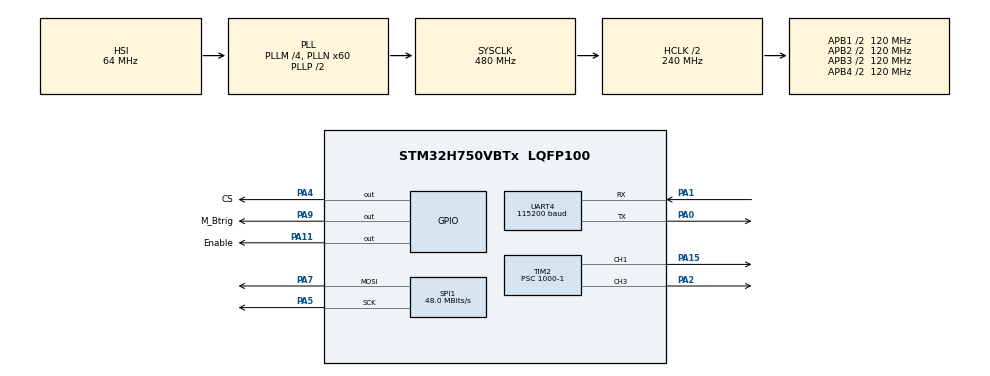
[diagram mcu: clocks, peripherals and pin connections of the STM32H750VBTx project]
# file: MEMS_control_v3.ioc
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Mcu.Family=STM32H7
Mcu.Name=STM32H750VBTx
Mcu.Package=LQFP100
NVIC.PriorityGroup=NVIC_PRIORITYGROUP_4
NVIC.TIM6_DAC_IRQn=true\:0\:0\:false\:false\:true\:true\:true\:true
NVIC.UART4_IRQn=true\:0\:0\:false\:false\:true\:true\:true\:true
PA0.Mode=Asynchronous
PA0.Signal=UART4_TX
PA1.Mode=Asynchronous
PA1.Signal=UART4_RX
PA11.GPIO_Label=Enable
PA11.Signal=GPIO_Output
PA15\ (JTDI).Signal=S_TIM2_CH1_ETR
PA2.Signal=S_TIM2_CH3
PA4.GPIO_Label=CS
PA4.GPIO_Speed=GPIO_SPEED_FREQ_HIGH
PA4.PinState=GPIO_PIN_SET
PA4.Signal=GPIO_Output
PA5.GPIO_Speed=GPIO_SPEED_FREQ_HIGH
PA5.Mode=TX_Only_Simplex_Unidirect_Master
PA5.Signal=SPI1_SCK
PA7.GPIO_Speed=GPIO_SPEED_FREQ_HIGH
PA7.Mode=TX_Only_Simplex_Unidirect_Master
PA7.Signal=SPI1_MOSI
PA9.GPIO_Label=M_Btrig
PA9.GPIO_Speed=GPIO_SPEED_FREQ_HIGH
PA9.Signal=GPIO_Output
PC14-OSC32_IN\ (OSC32_IN).Mode=LSE-External-Oscillator
PC14-OSC32_IN\ (OSC32_IN).Signal=RCC_OSC32_IN
PC15-OSC32_OUT\ (OSC32_OUT).Mode=LSE-External-Oscillator
PC15-OSC32_OUT\ (OSC32_OUT).Signal=RCC_OSC32_OUT
PH0-OSC_IN\ (PH0).Mode=HSE-External-Oscillator
PH0-OSC_IN\ (PH0).Signal=RCC_OSC_IN
PH1-OSC_OUT\ (PH1).Mode=HSE-External-Oscillator
PH1-OSC_OUT\ (PH1).Signal=RCC_OSC_OUT
ProjectManager.HeapSize=0x200
ProjectManager.StackSize=0x400
ProjectManager.TargetToolchain=STM32CubeIDE
RCC.ADCFreq_Value=129000000
RCC.APB1Freq_Value=120000000
RCC.APB2Freq_Value=120000000
RCC.APB3Freq_Value=120000000
RCC.APB4Freq_Value=120000000
RCC.CortexFreq_Value=480000000
RCC.D1PPRE=RCC_APB3_DIV2
RCC.D2PPRE1=RCC_APB1_DIV2
RCC.D2PPRE2=RCC_APB2_DIV2
RCC.D3PPRE=RCC_APB4_DIV2
RCC.DIVM1=4
RCC.DIVN1=60
RCC.DIVQ1=5
RCC.HCLKFreq_Value=240000000
RCC.HPRE=RCC_HCLK_DIV2
RCC.PLL2FRACN=0
RCC.PLL3FRACN=0
RCC.PLLFRACN=0
RCC.SYSCLKFreq_VALUE=480000000
RCC.SYSCLKSource=RCC_SYSCLKSOURCE_PLLCLK
RCC.USBFreq_Value=192000000
SH.S_TIM2_CH1_ETR.0=TIM2_CH1,PWM Generation1 CH1
SH.S_TIM2_CH3.0=TIM2_CH3,PWM Generation3 CH3
SPI1.BaudRatePrescaler=SPI_BAUDRATEPRESCALER_4
SPI1.CalculateBaudRate=48.0 MBits/s
SPI1.DataSize=SPI_DATASIZE_24BIT
SPI1.Direction=SPI_DIRECTION_2LINES_TXONLY
SPI1.Mode=SPI_MODE_MASTER
SPI1.VirtualType=VM_MASTER
TIM2.Channel-PWM\ Generation1\ CH1=TIM_CHANNEL_1
TIM2.Channel-PWM\ Generation3\ CH3=TIM_CHANNEL_3
TIM2.Period=13-1
TIM2.Prescaler=1000-1
TIM2.Pulse-PWM\ Generation1\ CH1=6
TIM2.Pulse-PWM\ Generation3\ CH3=6
TIM6.Period=10-1
TIM6.Prescaler=240-1
UART4.BaudRate=115200
VP_MEMORYMAP_VS_MEMORYMAP.Mode=CurAppReg
VP_TIM2_VS_ClockSourceINT.Mode=Internal
VP_TIM6_VS_ClockSourceINT.Mode=Enable_Timer
board=custom

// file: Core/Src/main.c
/* USER CODE BEGIN Header */
/**
  ******************************************************************************
  * @file           : main.c
  * @brief          : Main program body
  ******************************************************************************
  * @attention
  *
  * Copyright (c) 2026 STMicroelectronics.
  * All rights reserved.
  *
  * This software is licensed under terms that can be found in the LICENSE file
  * in the root directory of this software component.
  * If no LICENSE file comes with this software, it is provided AS-IS.
  *
  ******************************************************************************
  */
/* USER CODE END Header */
#include "main.h"

/* USER CODE BEGIN Includes */
#include "spi24_tx.h"
#include "frame_player.h"
#include "uart_cmd.h"
#include "mirrorcle_drv.h"
/* USER CODE END Includes */

SPI_HandleTypeDef hspi1;

TIM_HandleTypeDef htim2;
TIM_HandleTypeDef htim6;

UART_HandleTypeDef huart4;

/* USER CODE BEGIN PV */

volatile uint8_t spi_trigger = 0;
static uint8_t g_uart1_rx_byte;

/* USER CODE END PV */

void SystemClock_Config(void);
static void MX_GPIO_Init(void);
static void MX_SPI1_Init(void);
static void MX_TIM6_Init(void);
static void MX_UART4_Init(void);
static void MX_TIM2_Init(void);

int main(void)
{

  /* MCU Configuration--------------------------------------------------------*/

  /* Reset of all peripherals, Initializes the Flash interface and the Systick. */
  HAL_Init();

  /* Configure the system clock */
  SystemClock_Config();

  /* Initialize all configured peripherals */
  MX_GPIO_Init();
  MX_SPI1_Init();
  MX_TIM6_Init();
  MX_UART4_Init();
  MX_TIM2_Init();
  /* USER CODE BEGIN 2 */

  SPI24_Init(&hspi1);
  FramePlayer_Init(&htim6);
  UARTCMD_Init(&huart4);
  HAL_UART_Receive_IT(&huart4, &g_uart1_rx_byte, 1);
  HAL_TIM_PWM_Start(&htim2, TIM_CHANNEL_1);
  HAL_TIM_PWM_Start(&htim2, TIM_CHANNEL_3);

  TIM1->CR1 |= TIM_CR1_OPM;
  TIM1->BDTR |= TIM_BDTR_MOE;
  HAL_TIM_PWM_Start(&htim1, TIM_CHANNEL_4);

  // 출력은 일단 끔
  Mirrorcle_DisableOutput();

  HAL_Delay(1);

  // DAC 초기화
  Mirrorcle_FullInit(29491);

  HAL_Delay(1);

  /* USER CODE END 2 */

  /* Infinite loop */
  while (1)
  {

  }
}

void SystemClock_Config(void)
{
  RCC_OscInitTypeDef RCC_OscInitStruct = {0};
  RCC_ClkInitTypeDef RCC_ClkInitStruct = {0};

  /** Supply configuration update enable
  */
  HAL_PWREx_ConfigSupply(PWR_LDO_SUPPLY);

  /** Configure the main internal regulator output voltage
  */
  __HAL_PWR_VOLTAGESCALING_CONFIG(PWR_REGULATOR_VOLTAGE_SCALE0);

  while(!__HAL_PWR_GET_FLAG(PWR_FLAG_VOSRDY)) {}

  /** Initializes the RCC Oscillators according to the specified parameters
  * in the RCC_OscInitTypeDef structure.
  */
  RCC_OscInitStruct.OscillatorType = RCC_OSCILLATORTYPE_HSI;
  RCC_OscInitStruct.HSIState = RCC_HSI_DIV1;
  RCC_OscInitStruct.HSICalibrationValue = RCC_HSICALIBRATION_DEFAULT;
  RCC_OscInitStruct.PLL.PLLState = RCC_PLL_ON;
  RCC_OscInitStruct.PLL.PLLSource = RCC_PLLSOURCE_HSI;
  RCC_OscInitStruct.PLL.PLLM = 4;
  RCC_OscInitStruct.PLL.PLLN = 60;
  RCC_OscInitStruct.PLL.PLLP = 2;
  RCC_OscInitStruct.PLL.PLLQ = 5;
  RCC_OscInitStruct.PLL.PLLR = 2;
  RCC_OscInitStruct.PLL.PLLRGE = RCC_PLL1VCIRANGE_3;
  RCC_OscInitStruct.PLL.PLLVCOSEL = RCC_PLL1VCOWIDE;
  RCC_OscInitStruct.PLL.PLLFRACN = 0;
  if (HAL_RCC_OscConfig(&RCC_OscInitStruct) != HAL_OK)
  {
    Error_Handler();
  }

  /** Initializes the CPU, AHB and APB buses clocks
  */
  RCC_ClkInitStruct.ClockType = RCC_CLOCKTYPE_HCLK|RCC_CLOCKTYPE_SYSCLK
                              |RCC_CLOCKTYPE_PCLK1|RCC_CLOCKTYPE_PCLK2
                              |RCC_CLOCKTYPE_D3PCLK1|RCC_CLOCKTYPE_D1PCLK1;
  RCC_ClkInitStruct.SYSCLKSource = RCC_SYSCLKSOURCE_PLLCLK;
  RCC_ClkInitStruct.SYSCLKDivider = RCC_SYSCLK_DIV1;
  RCC_ClkInitStruct.AHBCLKDivider = RCC_HCLK_DIV2;
  RCC_ClkInitStruct.APB3CLKDivider = RCC_APB3_DIV2;
  RCC_ClkInitStruct.APB1CLKDivider = RCC_APB1_DIV2;
  RCC_ClkInitStruct.APB2CLKDivider = RCC_APB2_DIV2;
  RCC_ClkInitStruct.APB4CLKDivider = RCC_APB4_DIV2;

  if (HAL_RCC_ClockConfig(&RCC_ClkInitStruct, FLASH_LATENCY_4) != HAL_OK)
  {
    Error_Handler();
  }
}

static void MX_SPI1_Init(void)
{

  /* SPI1 parameter configuration*/
  hspi1.Instance = SPI1;
  hspi1.Init.Mode = SPI_MODE_MASTER;
  hspi1.Init.Direction = SPI_DIRECTION_2LINES_TXONLY;
  hspi1.Init.DataSize = SPI_DATASIZE_24BIT;
  hspi1.Init.CLKPolarity = SPI_POLARITY_LOW;
  hspi1.Init.CLKPhase = SPI_PHASE_1EDGE;
  hspi1.Init.NSS = SPI_NSS_SOFT;
  hspi1.Init.BaudRatePrescaler = SPI_BAUDRATEPRESCALER_4;
  hspi1.Init.FirstBit = SPI_FIRSTBIT_MSB;
  hspi1.Init.TIMode = SPI_TIMODE_DISABLE;
  hspi1.Init.CRCCalculation = SPI_CRCCALCULATION_DISABLE;
  hspi1.Init.CRCPolynomial = 0x0;
  hspi1.Init.NSSPMode = SPI_NSS_PULSE_ENABLE;
  hspi1.Init.NSSPolarity = SPI_NSS_POLARITY_LOW;
  hspi1.Init.FifoThreshold = SPI_FIFO_THRESHOLD_01DATA;
  hspi1.Init.TxCRCInitializationPattern = SPI_CRC_INITIALIZATION_ALL_ZERO_PATTERN;
  hspi1.Init.RxCRCInitializationPattern = SPI_CRC_INITIALIZATION_ALL_ZERO_PATTERN;
  hspi1.Init.MasterSSIdleness = SPI_MASTER_SS_IDLENESS_00CYCLE;
  hspi1.Init.MasterInterDataIdleness = SPI_MASTER_INTERDATA_IDLENESS_00CYCLE;
  hspi1.Init.MasterReceiverAutoSusp = SPI_MASTER_RX_AUTOSUSP_DISABLE;
  hspi1.Init.MasterKeepIOState = SPI_MASTER_KEEP_IO_STATE_DISABLE;
  hspi1.Init.IOSwap = SPI_IO_SWAP_DISABLE;
  if (HAL_SPI_Init(&hspi1) != HAL_OK)
  {
    Error_Handler();
  }

}

static void MX_TIM2_Init(void)
{

  TIM_ClockConfigTypeDef sClockSourceConfig = {0};
  TIM_MasterConfigTypeDef sMasterConfig = {0};
  TIM_OC_InitTypeDef sConfigOC = {0};

  htim2.Instance = TIM2;
  htim2.Init.Prescaler = 1000-1;
  htim2.Init.CounterMode = TIM_COUNTERMODE_UP;
  htim2.Init.Period = 13-1;
  htim2.Init.ClockDivision = TIM_CLOCKDIVISION_DIV1;
  htim2.Init.AutoReloadPreload = TIM_AUTORELOAD_PRELOAD_DISABLE;
  if (HAL_TIM_Base_Init(&htim2) != HAL_OK)
  {
    Error_Handler();
  }
  sClockSourceConfig.ClockSource = TIM_CLOCKSOURCE_INTERNAL;
  if (HAL_TIM_ConfigClockSource(&htim2, &sClockSourceConfig) != HAL_OK)
  {
    Error_Handler();
  }
  if (HAL_TIM_PWM_Init(&htim2) != HAL_OK)
  {
    Error_Handler();
  }
  sMasterConfig.MasterOutputTrigger = TIM_TRGO_RESET;
  sMasterConfig.MasterSlaveMode = TIM_MASTERSLAVEMODE_DISABLE;
  if (HAL_TIMEx_MasterConfigSynchronization(&htim2, &sMasterConfig) != HAL_OK)
  {
    Error_Handler();
  }
  sConfigOC.OCMode = TIM_OCMODE_PWM1;
  sConfigOC.Pulse = 6;
  sConfigOC.OCPolarity = TIM_OCPOLARITY_HIGH;
  sConfigOC.OCFastMode = TIM_OCFAST_DISABLE;
  if (HAL_TIM_PWM_ConfigChannel(&htim2, &sConfigOC, TIM_CHANNEL_1) != HAL_OK)
  {
    Error_Handler();
  }
  if (HAL_TIM_PWM_ConfigChannel(&htim2, &sConfigOC, TIM_CHANNEL_3) != HAL_OK)
  {
    Error_Handler();
  }
  HAL_TIM_MspPostInit(&htim2);

}

static void MX_TIM6_Init(void)
{

  TIM_MasterConfigTypeDef sMasterConfig = {0};

  htim6.Instance = TIM6;
  htim6.Init.Prescaler = 240-1;
  htim6.Init.CounterMode = TIM_COUNTERMODE_UP;
  htim6.Init.Period = 10-1;
  htim6.Init.AutoReloadPreload = TIM_AUTORELOAD_PRELOAD_DISABLE;
  if (HAL_TIM_Base_Init(&htim6) != HAL_OK)
  {
    Error_Handler();
  }
  sMasterConfig.MasterOutputTrigger = TIM_TRGO_RESET;
  sMasterConfig.MasterSlaveMode = TIM_MASTERSLAVEMODE_DISABLE;
  if (HAL_TIMEx_MasterConfigSynchronization(&htim6, &sMasterConfig) != HAL_OK)
  {
    Error_Handler();
  }

}

static void MX_UART4_Init(void)
{

  huart4.Instance = UART4;
  huart4.Init.BaudRate = 115200;
  huart4.Init.WordLength = UART_WORDLENGTH_8B;
  huart4.Init.StopBits = UART_STOPBITS_1;
  huart4.Init.Parity = UART_PARITY_NONE;
  huart4.Init.Mode = UART_MODE_TX_RX;
  huart4.Init.HwFlowCtl = UART_HWCONTROL_NONE;
  huart4.Init.OverSampling = UART_OVERSAMPLING_16;
  huart4.Init.OneBitSampling = UART_ONE_BIT_SAMPLE_DISABLE;
  huart4.Init.ClockPrescaler = UART_PRESCALER_DIV1;
  huart4.AdvancedInit.AdvFeatureInit = UART_ADVFEATURE_NO_INIT;
  if (HAL_UART_Init(&huart4) != HAL_OK)
  {
    Error_Handler();
  }
  if (HAL_UARTEx_SetTxFifoThreshold(&huart4, UART_TXFIFO_THRESHOLD_1_8) != HAL_OK)
  {
    Error_Handler();
  }
  if (HAL_UARTEx_SetRxFifoThreshold(&huart4, UART_RXFIFO_THRESHOLD_1_8) != HAL_OK)
  {
    Error_Handler();
  }
  if (HAL_UARTEx_DisableFifoMode(&huart4) != HAL_OK)
  {
    Error_Handler();
  }

}

static void MX_GPIO_Init(void)
{
  GPIO_InitTypeDef GPIO_InitStruct = {0};

  /* GPIO Ports Clock Enable */
  __HAL_RCC_GPIOC_CLK_ENABLE();
  __HAL_RCC_GPIOH_CLK_ENABLE();
  __HAL_RCC_GPIOA_CLK_ENABLE();

  /*Configure GPIO pin Output Level */
  HAL_GPIO_WritePin(CS_GPIO_Port, CS_Pin, GPIO_PIN_SET);

  /*Configure GPIO pin Output Level */
  HAL_GPIO_WritePin(GPIOA, M_Btrig_Pin|Enable_Pin, GPIO_PIN_RESET);

  /*Configure GPIO pins : CS_Pin M_Btrig_Pin */
  GPIO_InitStruct.Pin = CS_Pin|M_Btrig_Pin;
  GPIO_InitStruct.Mode = GPIO_MODE_OUTPUT_PP;
  GPIO_InitStruct.Pull = GPIO_NOPULL;
  GPIO_InitStruct.Speed = GPIO_SPEED_FREQ_HIGH;
  HAL_GPIO_Init(GPIOA, &GPIO_InitStruct);

  /*Configure GPIO pin : Enable_Pin */
  GPIO_InitStruct.Pin = Enable_Pin;
  GPIO_InitStruct.Mode = GPIO_MODE_OUTPUT_PP;
  GPIO_InitStruct.Pull = GPIO_NOPULL;
  GPIO_InitStruct.Speed = GPIO_SPEED_FREQ_LOW;
  HAL_GPIO_Init(Enable_GPIO_Port, &GPIO_InitStruct);

}

/* USER CODE BEGIN 4 */

void HAL_TIM_PeriodElapsedCallback(TIM_HandleTypeDef *htim)
{
    if (htim->Instance == TIM6)
    {
        FramePlayer_OnTimTick();
    }
}

void HAL_UART_RxCpltCallback(UART_HandleTypeDef *huart)
{
    if (huart->Instance == UART4)
    {
        UARTCMD_RxByteCallback(g_uart1_rx_byte);
        HAL_UART_Receive_IT(&huart4, &g_uart1_rx_byte, 1);
    }
}

/* USER CODE END 4 */

void Error_Handler(void)
{
  __disable_irq();
  while (1)
  {
  }
}
